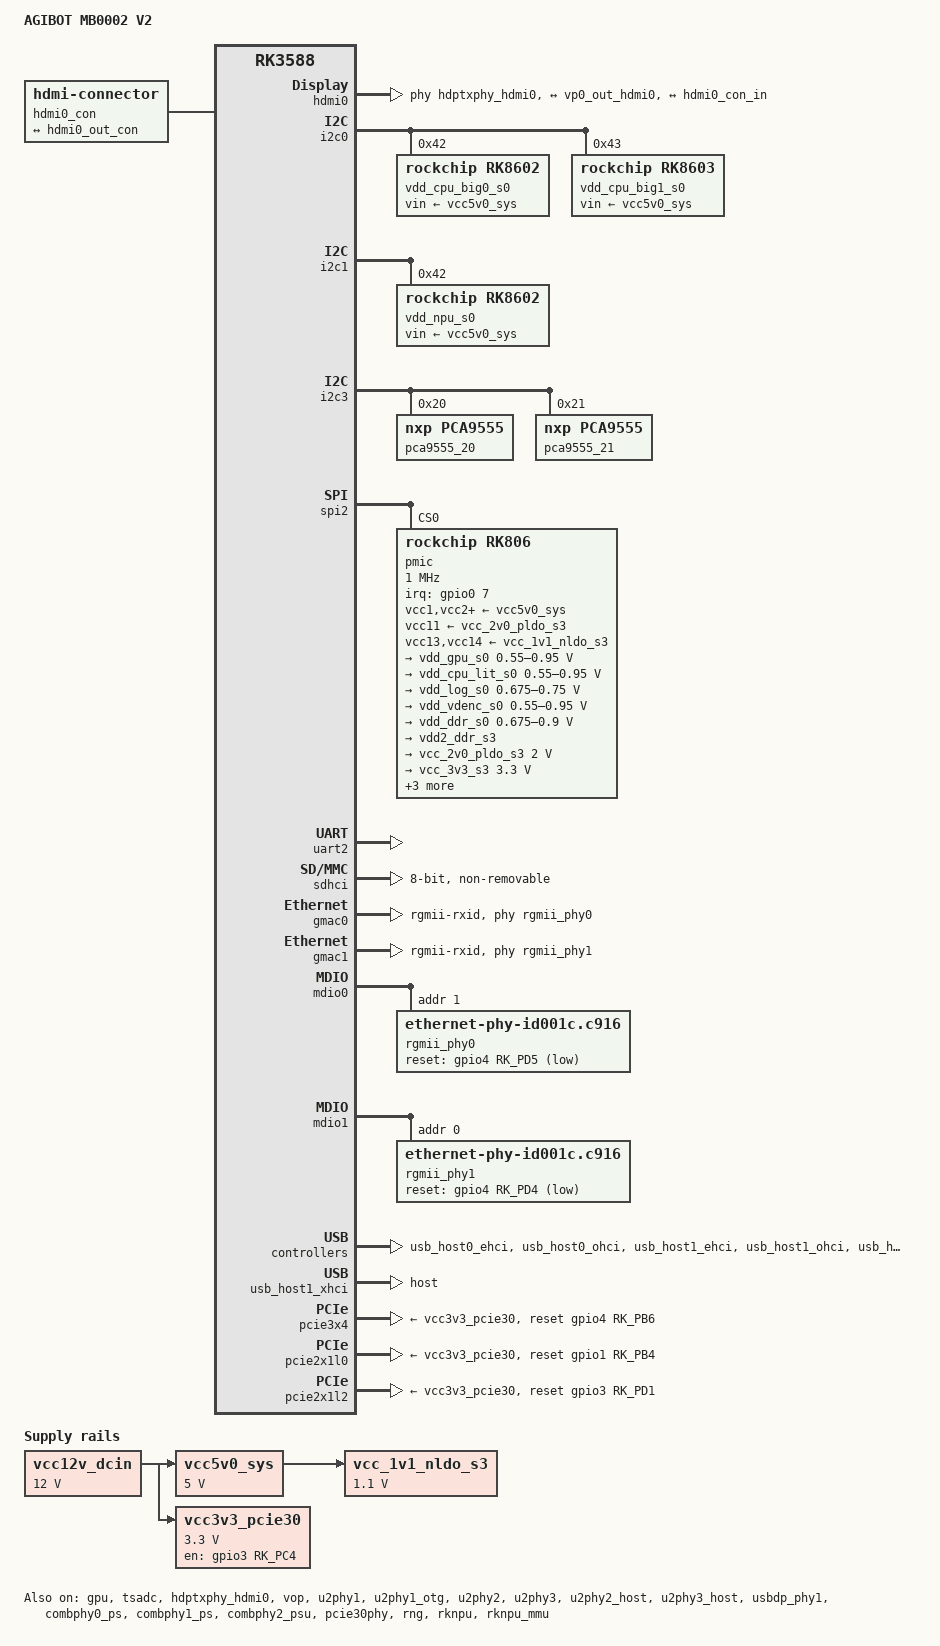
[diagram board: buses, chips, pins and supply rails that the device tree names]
// SPDX-License-Identifier: (GPL-2.0+ OR MIT)
/*
 * AGIBOT MB0002 V2 (RK3588) — 精简路由 DTS,供 LEDE/OpenWrt 主线内核(6.12)使用。
 *
 * 移植自 5.10 BSP(E:\AIPorject\101\agibot.dts)。电源拓扑(RK806@SPI2 + rk860x@i2c0/i2c1)
 * 与 LEDE 自带 seewo rk3588-srcm3588-io 同构 —— 电源树/cpu-supply/i2c0/i2c1/sdhci/uart2
 * 直接照搬其主线写法(seewo 已编译验证);双 RGMII GMAC 的主线节点结构参考 LEDE
 * rk3588s-nanopi-r6.dtsi(同为双千兆 RK3588 路由),具体值(tx_delay/reset-gpio/phy reg)取自 BSP。
 * 丢弃机器人专用外设(CSI/PWM 风扇/雷达等),保留路由与维护所需:
 *   双 GbE(RGMII)+ eMMC + UART2/HDMI0 控制台 + USB host + 完整电源树。
 *
 * bring-up 顺序:UART2(1500000)看早期日志 → eMMC HS400-ES 启动 → PMIC 稳压 → 双 GbE 载波。
 * 救援:eMMC-only(无 SD 槽),失败走 Maskrom + RKDevTool 回刷(复用 flash/)。
 */

/dts-v1/;
#include <dt-bindings/clock/rockchip,rk3588-cru.h>
#include <dt-bindings/gpio/gpio.h>
#include <dt-bindings/pinctrl/rockchip.h>
#include <dt-bindings/pwm/pwm.h>
#include <dt-bindings/soc/rockchip,vop2.h>
#include "rk3588.dtsi"

/ {
	model = "AGIBOT MB0002 V2";
	compatible = "agibot,mb0002-v2", "rockchip,rk3588";

	aliases {
		ethernet0 = &gmac0;
		ethernet1 = &gmac1;
		mmc0 = &sdhci;
		mmc1 = &sdmmc;
		serial2 = &uart2;
	};

	chosen {
		stdout-path = "serial2:1500000n8";
	};

	/* J5000 is the board's verified HDMI0 Type-A output. */
	hdmi0_con: hdmi0-connector {
		compatible = "hdmi-connector";
		type = "a";

		port {
			hdmi0_con_in: endpoint {
				remote-endpoint = <&hdmi0_out_con>;
			};
		};
	};

	/*
	 * RK3588 HDMI QP nodes landed after the 6.12 base DTS.  The LEDE
	 * kernel already carries the matching DRM backports, so describe the
	 * controller here until the target moves to a newer upstream DTS.
	 */
	hdmi0: hdmi@fde80000 {
		compatible = "rockchip,rk3588-dw-hdmi-qp";
		reg = <0x0 0xfde80000 0x0 0x20000>;
		clocks = <&cru PCLK_HDMITX0>,
			 <&cru CLK_HDMITX0_EARC>,
			 <&cru CLK_HDMITX0_REF>,
			 <&cru MCLK_I2S5_8CH_TX>,
			 <&cru CLK_HDMIHDP0>,
			 <&cru HCLK_VO1>;
		clock-names = "pclk", "earc", "ref", "aud", "hdp", "hclk_vo1";
		interrupts = <GIC_SPI 169 IRQ_TYPE_LEVEL_HIGH 0>,
			     <GIC_SPI 170 IRQ_TYPE_LEVEL_HIGH 0>,
			     <GIC_SPI 171 IRQ_TYPE_LEVEL_HIGH 0>,
			     <GIC_SPI 172 IRQ_TYPE_LEVEL_HIGH 0>,
			     <GIC_SPI 360 IRQ_TYPE_LEVEL_HIGH 0>;
		interrupt-names = "avp", "cec", "earc", "main", "hpd";
		phys = <&hdptxphy_hdmi0>;
		pinctrl-names = "default";
		pinctrl-0 = <&hdmim0_tx0_cec &hdmim0_tx0_hpd
			     &hdmim0_tx0_scl &hdmim0_tx0_sda>;
		power-domains = <&power RK3588_PD_VO1>;
		resets = <&cru SRST_HDMITX0_REF>, <&cru SRST_HDMIHDP0>;
		reset-names = "ref", "hdp";
		rockchip,grf = <&sys_grf>;
		rockchip,vo-grf = <&vo1_grf>;
		#sound-dai-cells = <0>;
		status = "okay";

		ports {
			#address-cells = <1>;
			#size-cells = <0>;

			hdmi0_in: port@0 {
				reg = <0>;
			};

			hdmi0_out: port@1 {
				reg = <1>;
			};
		};
	};

	/* 主电源轨:外部 DC 12V → 5V 系统 → 各级 LDO/DCDC */
	vcc12v_dcin: vcc12v-dcin {
		compatible = "regulator-fixed";
		regulator-name = "vcc12v_dcin";
		regulator-always-on;
		regulator-boot-on;
		regulator-min-microvolt = <12000000>;
		regulator-max-microvolt = <12000000>;
	};

	vcc5v0_sys: vcc5v0-sys {
		compatible = "regulator-fixed";
		regulator-name = "vcc5v0_sys";
		regulator-always-on;
		regulator-boot-on;
		regulator-min-microvolt = <5000000>;
		regulator-max-microvolt = <5000000>;
		vin-supply = <&vcc12v_dcin>;
	};

	/* RK806 内部 NLDO 的输入轨(vcc13/vcc14-supply 指向它) */
	vcc_1v1_nldo_s3: vcc-1v1-nldo-s3 {
		compatible = "regulator-fixed";
		regulator-name = "vcc_1v1_nldo_s3";
		regulator-always-on;
		regulator-boot-on;
		regulator-min-microvolt = <1100000>;
		regulator-max-microvolt = <1100000>;
		vin-supply = <&vcc5v0_sys>;
	};

	/* PCIe 3.3V 供电:GPIO3_C4 使能(高有效),取自 5.10 BSP(照搬 vcc3v3-pcie30) */
	vcc3v3_pcie30: vcc3v3-pcie30 {
		compatible = "regulator-fixed";
		regulator-name = "vcc3v3_pcie30";
		regulator-min-microvolt = <3300000>;
		regulator-max-microvolt = <3300000>;
		enable-active-high;
		gpios = <&gpio3 RK_PC4 GPIO_ACTIVE_HIGH>;
		startup-delay-us = <7500>;
		vin-supply = <&vcc12v_dcin>;
	};

	/* RKNN Runtime compatible NPU device. Keep clk_npu at a conservative
	 * 200 MHz until the vendor OPP/devfreq helpers are ported to mainline. */
	rknpu: npu@fdab0000 {
		compatible = "rockchip,rk3588-rknpu";
		reg = <0x0 0xfdab0000 0x0 0x10000>,
		      <0x0 0xfdac0000 0x0 0x10000>,
		      <0x0 0xfdad0000 0x0 0x10000>;
		interrupts = <GIC_SPI 110 IRQ_TYPE_LEVEL_HIGH 0>,
			     <GIC_SPI 111 IRQ_TYPE_LEVEL_HIGH 0>,
			     <GIC_SPI 112 IRQ_TYPE_LEVEL_HIGH 0>;
		interrupt-names = "npu0_irq", "npu1_irq", "npu2_irq";
		clocks = <&cru CLK_NPU_DSU0>, <&cru ACLK_NPU0>,
			 <&cru ACLK_NPU1>, <&cru ACLK_NPU2>,
			 <&cru HCLK_NPU0>, <&cru HCLK_NPU1>,
			 <&cru HCLK_NPU2>, <&cru PCLK_NPU_ROOT>;
		clock-names = "clk_npu", "aclk0", "aclk1", "aclk2",
			      "hclk0", "hclk1", "hclk2", "pclk";
		assigned-clocks = <&cru CLK_NPU_DSU0>;
		assigned-clock-rates = <200000000>;
		resets = <&cru SRST_A_RKNN0>, <&cru SRST_A_RKNN1>,
			 <&cru SRST_A_RKNN2>, <&cru SRST_H_RKNN0>,
			 <&cru SRST_H_RKNN1>, <&cru SRST_H_RKNN2>;
		reset-names = "srst_a0", "srst_a1", "srst_a2",
			      "srst_h0", "srst_h1", "srst_h2";
		power-domains = <&power RK3588_PD_NPUTOP>,
				<&power RK3588_PD_NPU1>,
				<&power RK3588_PD_NPU2>;
		power-domain-names = "npu0", "npu1", "npu2";
		iommus = <&rknpu_mmu>;
		rknpu-supply = <&vdd_npu_s0>;
		status = "okay";
	};

	rknpu_mmu: iommu@fdab9000 {
		compatible = "rockchip,rk3588-iommu", "rockchip,rk3568-iommu";
		reg = <0x0 0xfdab9000 0x0 0x100>,
		      <0x0 0xfdaba000 0x0 0x100>,
		      <0x0 0xfdaca000 0x0 0x100>,
		      <0x0 0xfdada000 0x0 0x100>;
		interrupts = <GIC_SPI 110 IRQ_TYPE_LEVEL_HIGH 0>,
			     <GIC_SPI 111 IRQ_TYPE_LEVEL_HIGH 0>,
			     <GIC_SPI 112 IRQ_TYPE_LEVEL_HIGH 0>;
		interrupt-names = "npu0_mmu", "npu1_mmu", "npu2_mmu";
		clocks = <&cru ACLK_NPU0>, <&cru ACLK_NPU1>, <&cru ACLK_NPU2>,
			 <&cru HCLK_NPU0>, <&cru HCLK_NPU1>, <&cru HCLK_NPU2>;
		clock-names = "aclk0", "aclk1", "aclk2",
			      "iface0", "iface1", "iface2";
		#iommu-cells = <0>;
		status = "okay";
	};
};

/* CPU big 核供电:i2c0 rk8602@42(big0)/rk8603@43(big1) */
&cpu_b0 { cpu-supply = <&vdd_cpu_big0_s0>; };
&cpu_b1 { cpu-supply = <&vdd_cpu_big0_s0>; };
&cpu_b2 { cpu-supply = <&vdd_cpu_big1_s0>; };
&cpu_b3 { cpu-supply = <&vdd_cpu_big1_s0>; };

/* CPU little 核供电:rk806 dcdc-reg2(vdd_cpu_lit_s0) */
&cpu_l0 { cpu-supply = <&vdd_cpu_lit_s0>; };
&cpu_l1 { cpu-supply = <&vdd_cpu_lit_s0>; };
&cpu_l2 { cpu-supply = <&vdd_cpu_lit_s0>; };
&cpu_l3 { cpu-supply = <&vdd_cpu_lit_s0>; };

&gpu {
	mali-supply = <&vdd_gpu_s0>;
	sram-supply = <&vdd_gpu_s0>;
	status = "okay";
};

&i2c0 {
	pinctrl-names = "default";
	pinctrl-0 = <&i2c0m2_xfer>;
	status = "okay";

	vdd_cpu_big0_s0: regulator@42 {
		compatible = "rockchip,rk8602";
		reg = <0x42>;
		fcs,suspend-voltage-selector = <1>;
		regulator-name = "vdd_cpu_big0_s0";
		regulator-min-microvolt = <550000>;
		regulator-max-microvolt = <1050000>;
		regulator-ramp-delay = <2300>;
		regulator-boot-on;
		regulator-always-on;
		vin-supply = <&vcc5v0_sys>;

		regulator-state-mem {
			regulator-off-in-suspend;
		};
	};

	vdd_cpu_big1_s0: regulator@43 {
		compatible = "rockchip,rk8603", "rockchip,rk8602";
		reg = <0x43>;
		fcs,suspend-voltage-selector = <1>;
		regulator-name = "vdd_cpu_big1_s0";
		regulator-min-microvolt = <550000>;
		regulator-max-microvolt = <1050000>;
		regulator-ramp-delay = <2300>;
		regulator-boot-on;
		regulator-always-on;
		vin-supply = <&vcc5v0_sys>;

		regulator-state-mem {
			regulator-off-in-suspend;
		};
	};
};

&i2c1 {
	pinctrl-names = "default";
	pinctrl-0 = <&i2c1m2_xfer>;
	status = "okay";

	vdd_npu_s0: regulator@42 {
		compatible = "rockchip,rk8602";
		reg = <0x42>;
		fcs,suspend-voltage-selector = <1>;
		regulator-name = "vdd_npu_s0";
		regulator-min-microvolt = <550000>;
		regulator-max-microvolt = <950000>;
		regulator-ramp-delay = <2300>;
		regulator-boot-on;
		regulator-always-on;
		vin-supply = <&vcc5v0_sys>;

		regulator-state-mem {
			regulator-off-in-suspend;
		};
	};
};

/* PCA9555 3-0020/3-0021: USB VBUS and board auxiliary power controls. */
&i2c3 {
	pinctrl-names = "default";
	pinctrl-0 = <&i2c3m4_xfer>;
	status = "okay";

	pca9555_20: gpio@20 {
		compatible = "nxp,pca9555";
		reg = <0x20>;
		gpio-controller;
		#gpio-cells = <2>;
		status = "okay";
	};

	pca9555_21: gpio@21 {
		compatible = "nxp,pca9555";
		reg = <0x21>;
		gpio-controller;
		#gpio-cells = <2>;
		status = "okay";
	};
};

&spi2 {
	/*
	 * RK806 PMIC 在 SPI2(本板少见 —— 多数 RK3588 板 PMIC 在 I2C)。
	 * IRQ = GPIO0_A7,与 seewo srcm3588-io 完全一致;完整 21 路电源树照搬 BSP。
	 */
	assigned-clocks = <&cru CLK_SPI2>;
	assigned-clock-rates = <200000000>;
	num-cs = <1>;
	pinctrl-names = "default";
	pinctrl-0 = <&spi2m2_cs0 &spi2m2_pins>;
	status = "okay";

	pmic@0 {
		compatible = "rockchip,rk806";
		reg = <0x0>;
		interrupt-parent = <&gpio0>;
		interrupts = <7 IRQ_TYPE_LEVEL_LOW>;
		pinctrl-names = "default";
		pinctrl-0 = <&pmic_pins>, <&rk806_dvs1_null>,
			    <&rk806_dvs2_null>, <&rk806_dvs3_null>;
		spi-max-frequency = <1000000>;
		system-power-controller;
		/* Vendor DT programs RK806 SYS_CFG3[7:6]=01 for SW9201 reset. */
		pmic-reset-func = <1>;

		vcc1-supply = <&vcc5v0_sys>;
		vcc2-supply = <&vcc5v0_sys>;
		vcc3-supply = <&vcc5v0_sys>;
		vcc4-supply = <&vcc5v0_sys>;
		vcc5-supply = <&vcc5v0_sys>;
		vcc6-supply = <&vcc5v0_sys>;
		vcc7-supply = <&vcc5v0_sys>;
		vcc8-supply = <&vcc5v0_sys>;
		vcc9-supply = <&vcc5v0_sys>;
		vcc10-supply = <&vcc5v0_sys>;
		vcc11-supply = <&vcc_2v0_pldo_s3>;
		vcc12-supply = <&vcc5v0_sys>;
		vcc13-supply = <&vcc_1v1_nldo_s3>;
		vcc14-supply = <&vcc_1v1_nldo_s3>;
		vcca-supply = <&vcc5v0_sys>;

		gpio-controller;
		#gpio-cells = <2>;

		pwrkey {
			status = "okay";
		};

		rk806_dvs1_null: dvs1-null-pins {
			pins = "gpio_pwrctrl1";
			function = "pin_fun0";
		};

		rk806_dvs2_null: dvs2-null-pins {
			pins = "gpio_pwrctrl2";
			function = "pin_fun0";
		};

		rk806_dvs3_null: dvs3-null-pins {
			pins = "gpio_pwrctrl3";
			function = "pin_fun0";
		};

		regulators {
			vdd_gpu_s0: dcdc-reg1 {
				regulator-boot-on;
				regulator-min-microvolt = <550000>;
				regulator-max-microvolt = <950000>;
				regulator-ramp-delay = <12500>;
				regulator-name = "vdd_gpu_s0";
				regulator-enable-ramp-delay = <400>;

				regulator-state-mem {
					regulator-off-in-suspend;
				};
			};

			vdd_cpu_lit_s0: dcdc-reg2 {
				regulator-always-on;
				regulator-boot-on;
				regulator-min-microvolt = <550000>;
				regulator-max-microvolt = <950000>;
				regulator-ramp-delay = <12500>;
				regulator-name = "vdd_cpu_lit_s0";

				regulator-state-mem {
					regulator-off-in-suspend;
				};
			};

			vdd_log_s0: dcdc-reg3 {
				regulator-always-on;
				regulator-boot-on;
				regulator-min-microvolt = <675000>;
				regulator-max-microvolt = <750000>;
				regulator-ramp-delay = <12500>;
				regulator-name = "vdd_log_s0";

				regulator-state-mem {
					regulator-off-in-suspend;
					regulator-suspend-microvolt = <750000>;
				};
			};

			vdd_vdenc_s0: dcdc-reg4 {
				regulator-always-on;
				regulator-boot-on;
				regulator-min-microvolt = <550000>;
				regulator-max-microvolt = <950000>;
				regulator-ramp-delay = <12500>;
				regulator-name = "vdd_vdenc_s0";

				regulator-state-mem {
					regulator-off-in-suspend;
				};
			};

			vdd_ddr_s0: dcdc-reg5 {
				regulator-always-on;
				regulator-boot-on;
				regulator-min-microvolt = <675000>;
				regulator-max-microvolt = <900000>;
				regulator-ramp-delay = <12500>;
				regulator-name = "vdd_ddr_s0";

				regulator-state-mem {
					regulator-off-in-suspend;
					regulator-suspend-microvolt = <850000>;
				};
			};

			vdd2_ddr_s3: dcdc-reg6 {
				regulator-always-on;
				regulator-boot-on;
				regulator-name = "vdd2_ddr_s3";

				regulator-state-mem {
					regulator-on-in-suspend;
				};
			};

			vcc_2v0_pldo_s3: dcdc-reg7 {
				regulator-always-on;
				regulator-boot-on;
				regulator-min-microvolt = <2000000>;
				regulator-max-microvolt = <2000000>;
				regulator-ramp-delay = <12500>;
				regulator-name = "vdd_2v0_pldo_s3";

				regulator-state-mem {
					regulator-on-in-suspend;
					regulator-suspend-microvolt = <2000000>;
				};
			};

			vcc_3v3_s3: dcdc-reg8 {
				regulator-always-on;
				regulator-boot-on;
				regulator-min-microvolt = <3300000>;
				regulator-max-microvolt = <3300000>;
				regulator-name = "vcc_3v3_s3";

				regulator-state-mem {
					regulator-on-in-suspend;
					regulator-suspend-microvolt = <3300000>;
				};
			};

			vddq_ddr_s0: dcdc-reg9 {
				regulator-always-on;
				regulator-boot-on;
				regulator-name = "vddq_ddr_s0";

				regulator-state-mem {
					regulator-off-in-suspend;
				};
			};

			vcc_1v8_s3: dcdc-reg10 {
				regulator-always-on;
				regulator-boot-on;
				regulator-min-microvolt = <1800000>;
				regulator-max-microvolt = <1800000>;
				regulator-name = "vcc_1v8_s3";

				regulator-state-mem {
					regulator-on-in-suspend;
					regulator-suspend-microvolt = <1800000>;
				};
			};

			avcc_1v8_s0: pldo-reg1 {
				regulator-always-on;
				regulator-boot-on;
				regulator-min-microvolt = <1800000>;
				regulator-max-microvolt = <1800000>;
				regulator-name = "avcc_1v8_s0";

				regulator-state-mem {
					regulator-off-in-suspend;
				};
			};

			vcc_1v8_s0: pldo-reg2 {
				regulator-always-on;
				regulator-boot-on;
				regulator-min-microvolt = <1800000>;
				regulator-max-microvolt = <1800000>;
				regulator-name = "vcc_1v8_s0";

				regulator-state-mem {
					regulator-off-in-suspend;
					regulator-suspend-microvolt = <1800000>;
				};
			};

			avdd_1v2_s0: pldo-reg3 {
				regulator-always-on;
				regulator-boot-on;
				regulator-min-microvolt = <1200000>;
				regulator-max-microvolt = <1200000>;
				regulator-name = "avdd_1v2_s0";

				regulator-state-mem {
					regulator-off-in-suspend;
				};
			};

			vcc_3v3_s0: pldo-reg4 {
				regulator-always-on;
				regulator-boot-on;
				regulator-min-microvolt = <3300000>;
				regulator-max-microvolt = <3300000>;
				regulator-ramp-delay = <12500>;
				regulator-name = "vcc_3v3_s0";

				regulator-state-mem {
					regulator-off-in-suspend;
				};
			};

			vccio_sd_s0: pldo-reg5 {
				regulator-always-on;
				regulator-boot-on;
				regulator-min-microvolt = <1800000>;
				regulator-max-microvolt = <3300000>;
				regulator-ramp-delay = <12500>;
				regulator-name = "vccio_sd_s0";

				regulator-state-mem {
					regulator-off-in-suspend;
				};
			};

			pldo6_s3: pldo-reg6 {
				regulator-always-on;
				regulator-boot-on;
				regulator-min-microvolt = <1800000>;
				regulator-max-microvolt = <1800000>;
				regulator-name = "pldo6_s3";

				regulator-state-mem {
					regulator-on-in-suspend;
					regulator-suspend-microvolt = <1800000>;
				};
			};

			vdd_0v75_s3: nldo-reg1 {
				regulator-always-on;
				regulator-boot-on;
				regulator-min-microvolt = <750000>;
				regulator-max-microvolt = <750000>;
				regulator-name = "vdd_0v75_s3";

				regulator-state-mem {
					regulator-on-in-suspend;
					regulator-suspend-microvolt = <750000>;
				};
			};

			vdd_ddr_pll_s0: nldo-reg2 {
				regulator-always-on;
				regulator-boot-on;
				regulator-min-microvolt = <850000>;
				regulator-max-microvolt = <850000>;
				regulator-name = "vdd_ddr_pll_s0";

				regulator-state-mem {
					regulator-off-in-suspend;
					regulator-suspend-microvolt = <850000>;
				};
			};

			avdd_0v75_s0: nldo-reg3 {
				regulator-always-on;
				regulator-boot-on;
				regulator-min-microvolt = <750000>;
				regulator-max-microvolt = <750000>;
				regulator-name = "avdd_0v75_s0";

				regulator-state-mem {
					regulator-off-in-suspend;
				};
			};

			vdd_0v85_s0: nldo-reg4 {
				regulator-always-on;
				regulator-boot-on;
				regulator-min-microvolt = <850000>;
				regulator-max-microvolt = <850000>;
				regulator-name = "vdd_0v85_s0";

				regulator-state-mem {
					regulator-off-in-suspend;
				};
			};

			vdd_0v75_s0: nldo-reg5 {
				regulator-always-on;
				regulator-boot-on;
				regulator-min-microvolt = <750000>;
				regulator-max-microvolt = <750000>;
				regulator-name = "vdd_0v75_s0";

				regulator-state-mem {
					regulator-off-in-suspend;
				};
			};
		};
	};
};

&tsadc {
	status = "okay";
};

&uart2 {
	/* 控制台:UART2 @ 1.5Mbps(丢 BSP 的 fiq-debugger,主线用标准 8250) */
	pinctrl-names = "default";
	pinctrl-0 = <&uart2m0_xfer>;
	status = "okay";
};

&sdhci {
	/* eMMC:8-bit HS400-ES,唯一启动介质 */
	bus-width = <8>;
	mmc-hs400-1_8v;
	mmc-hs400-enhanced-strobe;
	non-removable;
	status = "okay";
};

&sdmmc {
	/*
	 * 本板(清洁机器人主控)出厂 eMMC-only,BSP 关闭 SD。
	 * 若后续确认有物理 microSD 卡槽,改 status="okay" 并补 vmmc/vqmmc 供电 + cd-gpio,
	 * 可作救援启动介质。当前保持关闭以避免占用未确认的 GPIO。
	 */
	status = "disabled";
};

/* ===== J5000 HDMI0 display + tty1 console ===== */
&hdptxphy_hdmi0 {
	#clock-cells = <0>;
	status = "okay";
};

&hdmi0_in {
	hdmi0_in_vp0: endpoint {
		remote-endpoint = <&vp0_out_hdmi0>;
	};
};

&hdmi0_out {
	hdmi0_out_con: endpoint {
		remote-endpoint = <&hdmi0_con_in>;
	};
};

&vop {
	clocks = <&cru ACLK_VOP>,
		 <&cru HCLK_VOP>,
		 <&cru DCLK_VOP0>,
		 <&cru DCLK_VOP1>,
		 <&cru DCLK_VOP2>,
		 <&cru DCLK_VOP3>,
		 <&cru PCLK_VOP_ROOT>,
		 <&hdptxphy_hdmi0>;
	clock-names = "aclk", "hclk", "dclk_vp0", "dclk_vp1",
		      "dclk_vp2", "dclk_vp3", "pclk_vop", "pll_hdmiphy0";
	status = "okay";
};

&vop_mmu {
	status = "okay";
};

&vp0 {
	vp0_out_hdmi0: endpoint@ROCKCHIP_VOP2_EP_HDMI0 {
		reg = <ROCKCHIP_VOP2_EP_HDMI0>;
		remote-endpoint = <&hdmi0_in_vp0>;
	};
};

/* ===== 双千兆 RGMII(值取自 5.10 BSP;节点结构参考 LEDE nanopi-r6)===== */
/*
 * PHY 复位(2026-08-18 v2):phy 节点用主线 phylib 标准的 reset-gpios +
 * reset-assert-us / reset-deassert-us(同 nanopi-r6 等主线在产板)。
 * 初版照搬 5.10 BSP 把 snps,reset-gpio 写在 gmac 节点 —— 那是 vendor stmmac
 * 私有属性,主线 6.12 完全不认 → PHY 永不复位,实机反馈"网口没识别"。
 * 历史教训(vendor 5.10 语境,主线未必复现):phylib 复位时机偏晚,当时报过
 * "Failed to reset the dma"(clock_in_out=input 时 MAC 时钟由 PHY 供给);
 * 若主线实机再遇此症,再考虑 clock_in_out="output" 或调 pinctrl 上拉。
 */
&gmac0 {
	clock_in_out = "output";
	phy-handle = <&rgmii_phy0>;
	phy-mode = "rgmii-rxid";
	pinctrl-names = "default";
	pinctrl-0 = <&gmac0_miim
		     &gmac0_tx_bus2
		     &gmac0_rx_bus2
		     &gmac0_rgmii_clk
		     &gmac0_rgmii_bus>;
	rx_delay = <0x00>;
	tx_delay = <0x43>;
	status = "okay";
};

&gmac1 {
	clock_in_out = "output";
	phy-handle = <&rgmii_phy1>;
	phy-mode = "rgmii-rxid";
	pinctrl-names = "default";
	pinctrl-0 = <&gmac1_miim
		     &gmac1_tx_bus2
		     &gmac1_rx_bus2
		     &gmac1_rgmii_clk
		     &gmac1_rgmii_bus>;
	rx_delay = <0x00>;
	tx_delay = <0x42>;
	status = "okay";
};

&mdio0 {
	rgmii_phy0: ethernet-phy@1 {
		/* Bind RTL8211F directly; early MDIO scanning races PHY power-up. */
		compatible = "ethernet-phy-id001c.c916";
		reg = <0x1>;
		/* 主线 phylib 标准复位(stmmac_open 扫 MDIO 前执行)。
		 * 2026-08-18 实机反馈"网口没识别":此前写在 gmac 节点的
		 * snps,reset-gpio 是 vendor 5.10 私有属性,主线 6.12 stmmac
		 * 不认 → PHY 永不复位、链路起不来。 */
		/* 无 phy-supply:PLDO4(vcc_3v3_s0)是系统主轨(always-on),挂给
		 * phy-supply 后主线 phylib 在 close 时 disable 该轨(2026-08-20 实机
		 * 实测 regulator disabled)→ 双 PHY 断电死锁、rebind 后 MDIO 无电
		 * 永远 -19。vendor DTB 的 phy 节点本就没有 phy-supply。 */
		reset-gpios = <&gpio4 RK_PD5 GPIO_ACTIVE_LOW>;
		reset-assert-us = <20000>;
		/* 500ms:gmac0 扫描在 1.60s(PMIC 就绪 1.41s 后 0.2s)报 PHY@1
		 * missing,晚 0.7s 扫描的 gmac1 PHY 正常——上电时序边缘问题 */
		reset-deassert-us = <500000>;
	};
};

&mdio1 {
	rgmii_phy1: ethernet-phy@0 {
		compatible = "ethernet-phy-id001c.c916";
		reg = <0x0>;
		reset-gpios = <&gpio4 RK_PD4 GPIO_ACTIVE_LOW>;
		reset-assert-us = <20000>;
		reset-deassert-us = <100000>;
	};
};

/*
 * USB host topology (2026-08-20, matches the original board mapping):
 *   fc800000/fc840000 -> J9200 (USB2 only)
 *   fc880000/fc8c0000 -> second USB2 host path / J2500 candidate
 *   fcd00000          -> USB3000 and both J3000 ports
 *   fc400000          -> both J2900 and both J2901 ports
 *   fe190000 PCIe     -> VL805 and J3300..J3600 (enabled in the PCIe section)
 * USB-A VBUS is switched by PCA9555 3-0020, not always-on.  The init script
 * pulses GPIO4_D2/D3 hub resets first, then enables offsets 0..11.
 */
&u2phy1 { status = "okay"; };
&u2phy1_otg { status = "okay"; };
&u2phy2 { status = "okay"; };
&u2phy3 { status = "okay"; };
&u2phy2_host { status = "okay"; };
&u2phy3_host { status = "okay"; };
&usbdp_phy1 { status = "okay"; };
/*
 * RK3588 extra DTS maps fe170000 to combphy1_ps and fe190000 to combphy0_ps.
 * combphy2_psu stays assigned to usb_host2_xhci (fcd00000); enabling only
 * combphy2 made both x1 PCIe controllers defer with "missing PHY".
 */
&combphy0_ps { status = "okay"; };
&combphy1_ps { status = "okay"; };
&combphy2_psu { status = "okay"; };
&usb_host0_ehci { status = "okay"; };
&usb_host0_ohci { status = "okay"; };
&usb_host1_ehci { status = "okay"; };
&usb_host1_ohci { status = "okay"; };
&usb_host1_xhci {
	dr_mode = "host";
	status = "okay";
};
&usb_host2_xhci { status = "okay"; };

/*
 * ===== PCIe 扩展(2026-08-17 增补)=====
 * 引脚/供电值取自 5.10 BSP 的三路 okay 控制器;写法照 LEDE rk3588-armsom-sige7.dts
 * (主线 pcie-dw-rockchip,板级只需 reset-gpios + 供电 + status)。
 *   pcie3x4  (fe150000, Gen3 x4)= gpio4 RK_PB6 —— M.2/4G 主扩展(J5001 侧)
 *   pcie2x1l0(fe170000, Gen2 x1)= gpio1 RK_PB4
 *   pcie2x1l2(fe190000, Gen2 x1)= gpio3 RK_PD1
 * 板上 WiFi(AP6275P)是 SDIO 接口,不占 PCIe;USB 口接的 4G 棒走 usb_host2_xhci。
 *
 * 与 armbian 路线的差异:armbian(vendor 6.1)侧 PCIe 三路 probe -22 未解
 * (dmesg "invalid resource"/"Failed to initialize host",ranges 与 dfi 修复后仍在,
 *  疑 vendor 驱动 patch 层问题,待拿回 patched 源码深挖);LEDE 用主线驱动,另一条路。
 * 另:主线 6.12 无 rk3588 DMC/DDR devfreq 与 TRNG 驱动(armbian vendor 侧两者均已驱动),
 * 故不移植 —— 见 docs/ARMBIAN-LINUX-BRINGUP.md 2026-08-17 一节。
 */
&pcie30phy {
	status = "okay";
};

&pcie3x4 {
	reset-gpios = <&gpio4 RK_PB6 GPIO_ACTIVE_HIGH>;
	vpcie3v3-supply = <&vcc3v3_pcie30>;
	status = "okay";
};

&pcie2x1l0 {
	reset-gpios = <&gpio1 RK_PB4 GPIO_ACTIVE_HIGH>;
	vpcie3v3-supply = <&vcc3v3_pcie30>;
	status = "okay";
};

&pcie2x1l2 {
	reset-gpios = <&gpio3 RK_PD1 GPIO_ACTIVE_HIGH>;
	vpcie3v3-supply = <&vcc3v3_pcie30>;
	status = "okay";
};

/*
 * TRNG 硬件随机数(2026-08-17 更正):LEDE 6.12 的 rk3588 dtsi 系列已带 rng@fe378000
 * 节点(compatible "rockchip,trngv1",时钟/复位同 5.10 BSP),且 armv8/config-6.12
 * 已开 CONFIG_HW_RANDOM_ROCKCHIP=y —— /dev/hwrng 本就可用。这里显式标 okay
 * (自文档化;此前"主线无 TRNG 不移植"的注记系误判,已更正)。
 * 真正主线没有的是 rk3588 DMC(DDR devfreq 调频)驱动,LEDE 侧不移植。
 */
&rng {
	status = "okay";
};
